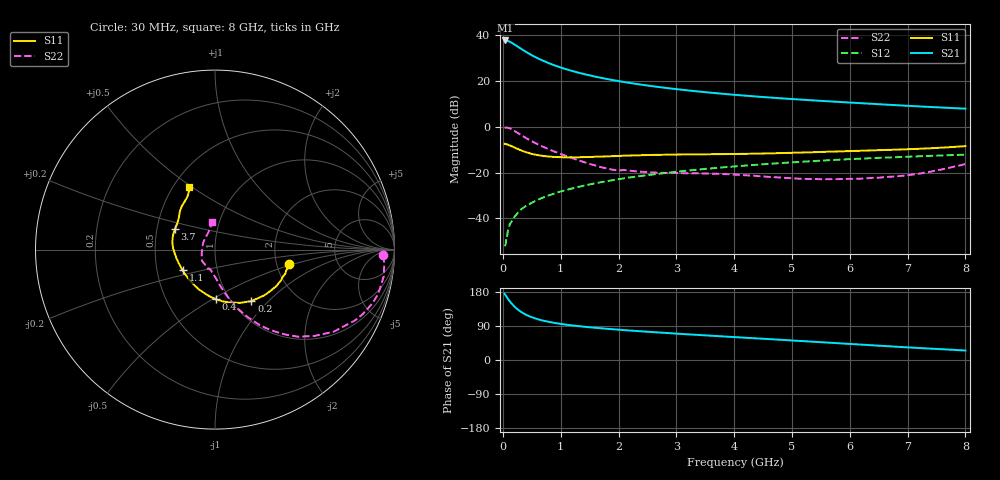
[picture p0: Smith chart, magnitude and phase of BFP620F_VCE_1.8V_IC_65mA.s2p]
! Infineon Technologies  Discrete & RF Semiconductors
! BFP620F
! VCE =  1.8 V,  IC =  65 mA
! Common Emitter S-Parameters:  Dec 2014
# GHz  S  MA  R  50
!  f  S11  S21  S12  S22
! GHz  MAG  ANG  MAG  ANG  MAG  ANG  MAG  ANG
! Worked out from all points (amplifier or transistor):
!   95 points, 30 MHz to 8 GHz, reference 50 ohm
!   highest |S21| = 37.4 dB at 40 MHz (marker M1)
!   |S21| within 3 dB of that: start of sweep to 277.4 MHz
!   unconditionally stable (mu >= 1): 1.694 GHz to end of sweep
!   at 300 MHz: K = 0.55, MSG = 35.2 dB, |S12| = -36.4 dB
!   at 3.3 GHz: K = 1.03, MAG = 16.0 dB, |S12| = -18.9 dB
!   at 8 GHz: K = 1.05, MAG = 8.6 dB, |S12| = -12.2 dB
!   S11 on the Smith chart (normalised r, x): 30 MHz: 2.35, -0.45; 200 MHz: 1.22, -0.80; 400 MHz: 0.86, -0.52; 1.1 GHz: 0.68, -0.16; 3.7 GHz: 0.62, +0.15; 8 GHz: 0.60, +0.49
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0.03  0.4208 -10.7  74.37 174.6  0.0025 100.7  0.936 -2.0
0.04  0.4173 -13.7  74.47 172.3  0.0026 96.2  0.9458 -4.4
0.08  0.406 -24.7  73.15 163.1  0.0047 83.7  0.9443 -13.4
0.12  0.3867 -35.8  69.47 154.7  0.0077 77.9  0.9099 -21.5
0.15  0.3738 -43.2  66.52 149.2  0.0086 81.1  0.8723 -27.0
0.2  0.3516 -54.7  60.89 141.0  0.0108 75.7  0.8038 -34.7
0.25  0.3282 -64.6  55.52 134.1  0.0129 74.2  0.7348 -40.9
0.3  0.3084 -73.5  50.52 128.4  0.0152 72.2  0.6712 -46.3
0.4  0.2773 -89.0  42.08 119.4  0.0188 71.6  0.5616 -54.1
0.5  0.2539 -101.2  35.59 112.9  0.022 71.4  0.479 -60.0
0.6  0.2394 -112.1  30.64 107.8  0.0254 71.0  0.4129 -64.5
0.7  0.2284 -121.0  26.8 103.7  0.0287 71.2  0.361 -68.2
0.9  0.2172 -135.6  21.27 97.7  0.0352 71.2  0.2829 -74.2
1.1  0.2135 -147.2  17.55 93.1  0.0418 70.7  0.2272 -79.2
1.4  0.2167 -160.3  13.88 87.9  0.0518 69.9  0.1691 -86.5
2  0.229 -178.4  9.738 80.0  0.0717 67.5  0.1105 -106.2
2.7  0.2428 167.8  7.225 72.6  0.094 63.4  0.0989 -126.2
3.7  0.2507 152.9  5.298 63.2  0.126 57.2  0.0938 -141.4
4.1  0.2538 147.7  4.793 59.6  0.1384 54.6  0.0885 -146.7
5.4  0.2772 135.9  3.684 47.9  0.1781 45.5  0.0723 -179.3
6.7  0.3113 124.4  2.963 36.0  0.2129 35.8  0.0808 137.3
8  0.3752 112.5  2.447 25.0  0.2446 26.4  0.1519 96.1
